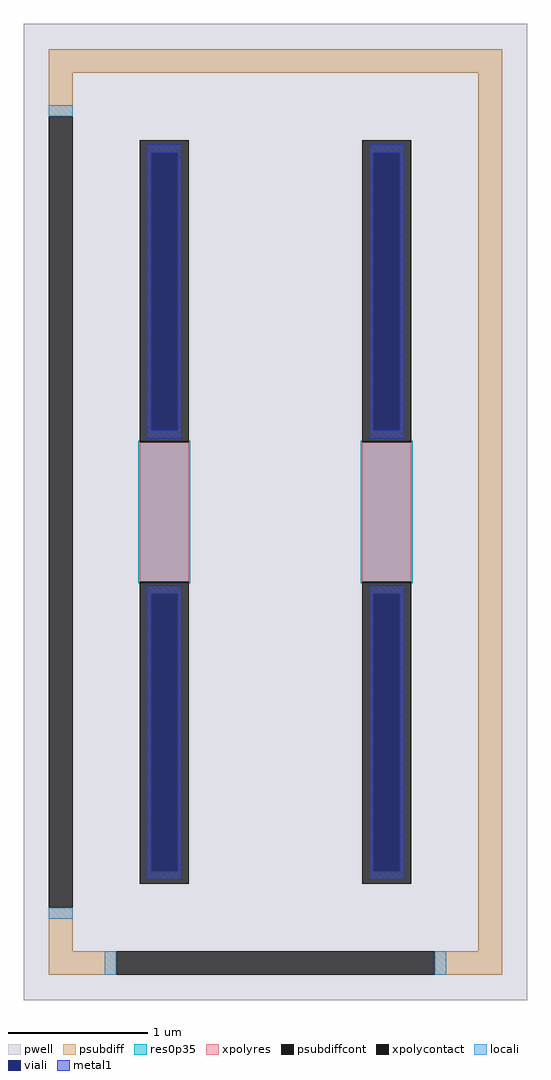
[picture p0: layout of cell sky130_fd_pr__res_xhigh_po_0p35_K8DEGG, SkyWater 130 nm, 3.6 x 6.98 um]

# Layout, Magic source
magic
tech sky130B
magscale 1 2
<< pwell >>
rect -360 -698 360 698
<< psubdiff >>
rect -324 628 324 662
rect -324 566 -290 628
rect -324 -628 -290 -566
rect 290 -628 324 628
rect -324 -662 -228 -628
rect 228 -662 324 -628
<< psubdiffcont >>
rect -324 -566 -290 566
rect -228 -662 228 -628
<< xpolycontact >>
rect -194 100 -124 532
rect -194 -532 -124 -100
rect 124 100 194 532
rect 124 -532 194 -100
<< xpolyres >>
rect -194 -100 -124 100
rect 124 -100 194 100
<< locali >>
rect -324 566 -290 582
rect -324 -582 -290 -566
rect -244 -662 -228 -628
rect 228 -662 244 -628
<< viali >>
rect -178 117 -140 514
rect 140 117 178 514
rect -178 -514 -140 -117
rect 140 -514 178 -117
<< metal1 >>
rect -184 514 -134 526
rect -184 117 -178 514
rect -140 117 -134 514
rect -184 105 -134 117
rect 134 514 184 526
rect 134 117 140 514
rect 178 117 184 514
rect 134 105 184 117
rect -184 -117 -134 -105
rect -184 -514 -178 -117
rect -140 -514 -134 -117
rect -184 -526 -134 -514
rect 134 -117 184 -105
rect 134 -514 140 -117
rect 178 -514 184 -117
rect 134 -526 184 -514
<< res0p35 >>
rect -196 -102 -122 102
rect 122 -102 196 102
<< properties >>
string FIXED_BBOX -307 -645 307 645
string gencell sky130_fd_pr__res_xhigh_po_0p35
string library sky130
string parameters w 0.350 l 1 m 1 nx 2 wmin 0.350 lmin 0.50 rho 2000 val 6.789k dummy 0 dw 0.0 term 188.2 sterm 0.0 caplen 0 wmax 0.350 guard 1 glc 1 grc 0 gtc 0 gbc 1 compatible {sky130_fd_pr__res_xhigh_po_0p35  sky130_fd_pr__res_xhigh_po_0p69 sky130_fd_pr__res_xhigh_po_1p41  sky130_fd_pr__res_xhigh_po_2p85 sky130_fd_pr__res_xhigh_po_5p73} full_metal 0 n_guard 0 hv_guard 0 vias 1 viagb 0 viagt 0 viagl 0 viagr 0
<< end >>
